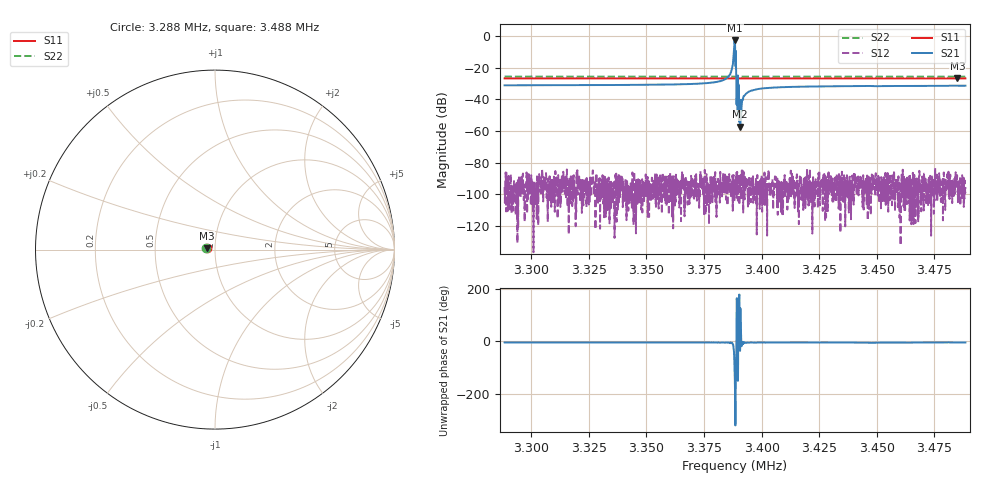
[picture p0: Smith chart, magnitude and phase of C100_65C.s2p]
# Hz S dB R 50.000
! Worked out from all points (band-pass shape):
!   6401 points, 3.288 MHz to 3.488 MHz, reference 50 ohm
!   highest |S21| = -2.73 dB at 3.388 MHz (marker M1); lowest = -57.2 dB at 3.391 MHz (marker M2)
!   |S21| within 3 dB of the highest: 3.388159 MHz to 3.388472 MHz (313.2 Hz wide, 0.00924 % of centre)
!   lowest |S11| = -26.7 dB at 3.485 MHz (marker M3), VSWR 1.10, Z = 45.6 + j0.562 ohm
!   |S11| at or under -10 dB: start of sweep to end of sweep
!   |S22| runs from -25.6 to -25.5 dB; largest |S21 - S12| = 0.73
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3288438  -26.72 170.6  -31.08 -4.5  -95.39 -150.8  -25.53 168.8
3321782  -26.72 170.9  -30.97 -4.6  -99.45 63.5  -25.55 169.1
3355126  -26.72 171.2  -30.66 -4.7  -104.05 97.5  -25.57 169.4
3373782  -26.72 171.3  -29.93 -4.8  -89.05 45.8  -25.58 169.6
3382376  -26.73 171.4  -28.30 -5.0  -93.78 53.1  -25.57 169.6
3386063  -26.73 171.4  -24.51 -5.5  -92.01 28.1  -25.58 169.7
3386688  -26.72 171.4  -22.83 -5.1  -97.96 128.9  -25.58 169.7
3387188  -26.73 171.5  -20.07 -5.4  -90.50 49.4  -25.59 169.7
3387844  -26.72 171.5  -11.77 -24.7  -90.36 61.5  -25.58 169.8
3388438  -26.72 171.4  -2.73 173.4  -93.41 -20.7  -25.58 169.5
3389126  -26.72 171.5  -43.27 42.3  -91.22 67.6  -25.58 169.7
3389407  -26.73 171.5  -29.10 126.7  -88.17 63.2  -25.58 169.7
3389907  -26.72 171.5  -34.53 46.1  -92.94 98.4  -25.58 169.7
3390719  -26.72 171.5  -57.19 -1.7  -90.69 116.5  -25.58 169.7
3391282  -26.72 171.5  -44.98 -16.2  -89.55 52.5  -25.58 169.7
3392344  -26.72 171.5  -37.89 -3.4  -86.06 75.2  -25.58 169.8
3393094  -26.73 171.5  -36.60 -5.8  -96.12 124.5  -25.59 169.8
3396844  -26.72 171.5  -33.98 -5.1  -97.36 83.7  -25.58 169.8
3421782  -26.73 171.8  -31.85 -4.8  -99.35 -149.9  -25.60 170.0
3455126  -26.73 172.0  -31.55 -5.0  -93.58 92.8  -25.62 170.3
3485000  -26.74 172.3  -31.35 -5.0  -96.45 -5.4  -25.63 170.6
3488438  -26.74 172.3  -31.33 -5.0  -95.36 165.5  -25.63 170.7
